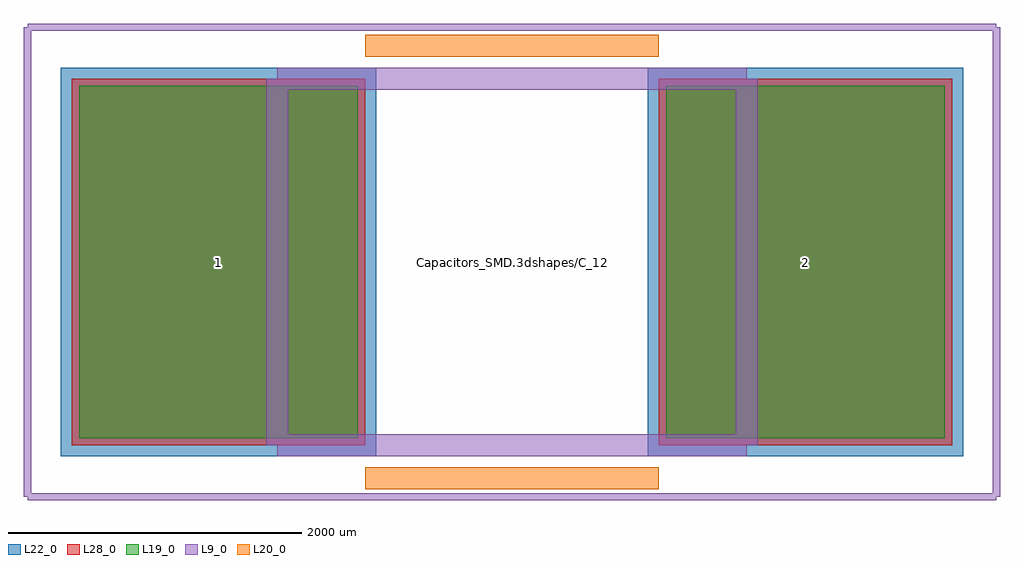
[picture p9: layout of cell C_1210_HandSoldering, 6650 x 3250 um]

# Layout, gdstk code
import gdstk
lib = gdstk.Library(unit=1e-6, precision=1e-09)
def R(c, l, rs):  # rectangles x0, y0, x1, y1
    for r in rs: c.add(gdstk.rectangle(r[:2], r[2:], *l))
L9_0 = (9, 0)
L19_0 = (19, 0)
L20_0 = (20, 0)
L22_0 = (22, 0)
L28_0 = (28, 0)

c_1210_handsoldering = lib.new_cell('C_1210_HandSoldering')
R(c_1210_handsoldering, L19_0, [(-2950,-1200,-1050,1200), (1050,-1200,2950,1200)])
R(c_1210_handsoldering, L22_0, [(-3075,-1325,-925,1325), (925,-1325,3075,1325)])
R(c_1210_handsoldering, L28_0, [(-3000,-1250,-1000,1250), (1000,-1250,3000,1250)])
c_1210_handsoldering.add(gdstk.FlexPath([(-1000,-1475),(1000,-1475)], 149.998, ends="flush", simple_path=True, layer=20, datatype=0))  # L20_0
c_1210_handsoldering.add(gdstk.FlexPath([(1000,1475),(-1000,1475)], 149.998, ends="flush", simple_path=True, layer=20, datatype=0))  # L20_0
c_1210_handsoldering.add(gdstk.FlexPath([(3300,1600),(3300,-1600)], 50, ends="flush", simple_path=True, layer=9, datatype=0))  # L9_0
c_1210_handsoldering.add(gdstk.FlexPath([(-3300,1600),(-3300,-1600)], 50, ends="flush", simple_path=True, layer=9, datatype=0))  # L9_0
c_1210_handsoldering.add(gdstk.FlexPath([(-3300,-1600),(3300,-1600)], 50, ends="flush", simple_path=True, layer=9, datatype=0))  # L9_0
c_1210_handsoldering.add(gdstk.FlexPath([(-3300,1600),(3300,1600)], 50, ends="flush", simple_path=True, layer=9, datatype=0))  # L9_0
c_1210_handsoldering.add(gdstk.FlexPath([(-1600,1250),(1600,1250)], 149.998, ends="flush", simple_path=True, layer=9, datatype=0))  # L9_0
c_1210_handsoldering.add(gdstk.FlexPath([(1600,1250),(1600,-1250)], 149.998, ends="flush", simple_path=True, layer=9, datatype=0))  # L9_0
c_1210_handsoldering.add(gdstk.FlexPath([(1600,-1250),(-1600,-1250)], 149.998, ends="flush", simple_path=True, layer=9, datatype=0))  # L9_0
c_1210_handsoldering.add(gdstk.FlexPath([(-1600,-1250),(-1600,1250)], 149.998, ends="flush", simple_path=True, layer=9, datatype=0))  # L9_0
c_1210_handsoldering.add(gdstk.Label('Capacitors_SMD.3dshapes/C_1210_HandSoldering.wrl', (0,0), layer=12, texttype=0))
c_1210_handsoldering.add(gdstk.Label('2', (2000,0), layer=28, texttype=0))
c_1210_handsoldering.add(gdstk.Label('1', (-2000,0), layer=28, texttype=0))
c_1210_handsoldering.add(gdstk.Label('type', (0,-2700), layer=9, texttype=0))
c_1210_handsoldering.add(gdstk.Label('devicename', (0,2700), layer=9, texttype=0))

lib.write_gds('C_1210_HandSoldering.gds')
